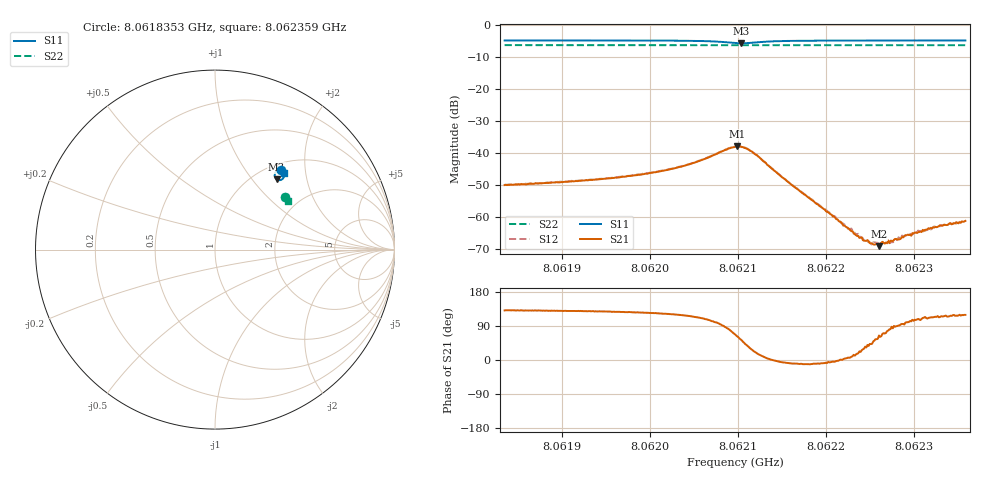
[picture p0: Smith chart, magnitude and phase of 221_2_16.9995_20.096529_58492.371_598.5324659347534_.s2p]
#  HZ  S  RI  R  50.00
! Rohde & Schwarz Vector Network Analyzer
! Rohde-Schwarz,ZNB20-2Port,1311601062101988,3.16
! Created: UTC 3/20/2024, 11:01:58 PM
! freq[Hz]  re:S11  im:S11  re:S21  im:S21  re:S12  im:S12  re:S22  im:S22
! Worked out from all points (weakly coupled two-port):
!   401 points, 8.0618353 GHz to 8.062359 GHz, reference 50 ohm
!   highest |S21| = -37.87 dB at 8.0620997 GHz (marker M1); lowest = -69.0 dB at 8.0622608 GHz (marker M2)
!   lowest |S11| = -5.7 dB at 8.0621037 GHz (marker M3), VSWR 3.17, Z = 62.4 + j67 ohm
!   |S11| at or under -10 dB: nowhere
!   |S22| runs from -6.3 to -6.2 dB; largest |S21 - S12| = 0.00094
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8.06183525e9  0.366 0.4445  -0.00208 0.00241  -0.00201 0.00254  0.3873 0.2954
8.06192297e9  0.3726 0.4386  -0.00236 0.00291  -0.00217 0.00304  0.3902 0.291
8.06197665e9  0.3773 0.4335  -0.00263 0.00353  -0.00243 0.00371  0.3922 0.2882
8.06201069e9  0.3806 0.4285  -0.00283 0.00434  -0.00259 0.00457  0.3934 0.2863
8.06204866e9  0.3845 0.418  -0.00292 0.00633  -0.00255 0.00657  0.3945 0.2842
8.06209711e9  0.3562 0.3868  0.00474 0.0116  0.00557 0.0114  0.3944 0.281
8.06209972e9  0.3509 0.3878  0.006 0.0113  0.00673 0.011  0.394 0.2811
8.06210365e9  0.3433 0.3914  0.0075 0.0103  0.00812 0.00975  0.3939 0.2811
8.0621102e9  0.3344 0.4021  0.00913 0.00753  0.00973 0.00696  0.3941 0.2814
8.06211936e9  0.3327 0.4188  0.00907 0.00366  0.00942 0.00316  0.3944 0.2819
8.06214817e9  0.3521 0.4386  0.0045 -0.000388  0.00454 -0.000611  0.3964 0.2809
8.06218483e9  0.3663 0.4388  0.00182 -0.000336  0.00184 -0.000464  0.3983 0.279
8.06223589e9  0.3753 0.435  0.000488 0.000146  0.000531 0.000109  0.4003 0.2764
8.06224636e9  0.3766 0.4343  0.000358 0.000233  0.00037 0.000187  0.4005 0.2758
8.06225291e9  0.3773 0.4337  0.000287 0.000267  0.000268 0.000247  0.4008 0.2754
8.06226077e9  0.3781 0.4332  0.000152 0.00032  0.000185 0.000307  0.401 0.2751
8.06227255e9  0.3793 0.4325  6.39e-05 0.00039  0.000105 0.0004  0.4015 0.2745
8.0622791e9  0.3799 0.4321  1.72e-05 0.00046  3.05e-05 0.000413  0.4015 0.2739
8.06228957e9  0.3809 0.4314  -3.29e-05 0.000513  -6.97e-05 0.000498  0.4021 0.2736
8.06231706e9  0.3833 0.4296  -0.000247 0.000631  -0.000224 0.000583  0.403 0.2723
8.06232492e9  0.3838 0.4291  -0.00029 0.000649  -0.000264 0.000654  0.4032 0.2718
8.06235896e9  0.3865 0.4271  -0.000427 0.000769  -0.000384 0.000793  0.4042 0.2701
